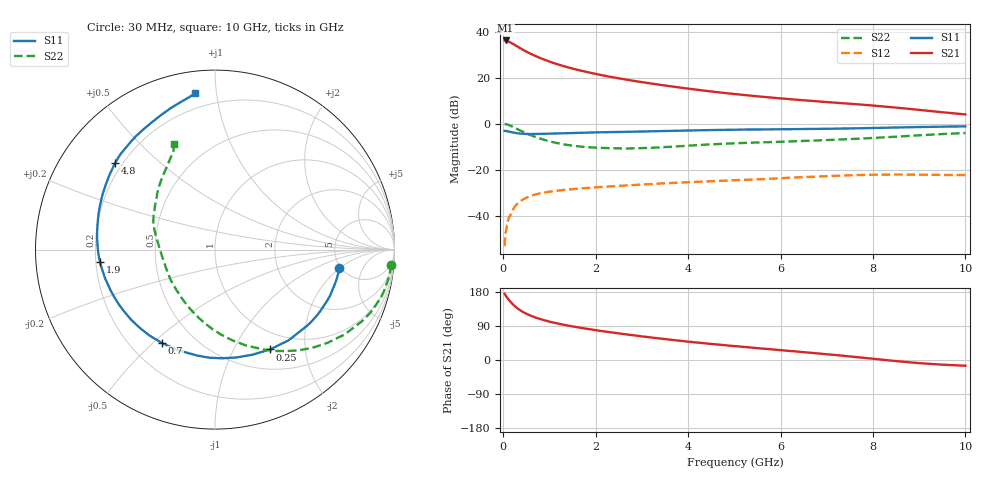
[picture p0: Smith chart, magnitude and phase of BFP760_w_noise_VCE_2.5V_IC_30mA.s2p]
! Infineon Technologies  Discrete & RF Semiconductors
! BFP760
! VCE =  2.5 V,  IC =  30 mA
! Common Emitter S-Parameters:  Nov 2012
# GHz  S  MA  R  50
!  f  S11  S21  S12  S22
! GHz  MAG  ANG  MAG  ANG  MAG  ANG  MAG  ANG
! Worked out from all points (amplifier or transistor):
!   99 points, 30 MHz to 10 GHz, reference 50 ohm
!   highest |S21| = 36.1 dB at 50 MHz (marker M1)
!   |S21| within 3 dB of that: start of sweep to 336.8 MHz
!   unconditionally stable (mu >= 1): 4.221 GHz to end of sweep
!   at 350 MHz: K = 0.27, MSG = 33.5 dB, |S12| = -34.0 dB
!   at 3.5 GHz: K = 0.93, MSG = 21.2 dB, |S12| = -25.8 dB
!   at 10 GHz: K = 1.08, MAG = 11.5 dB, |S12| = -22.3 dB
!   lowest NFmin = 0.75 dB at 900 MHz
!   S11 on the Smith chart (normalised r, x): 30 MHz: 4.86, -1.96; 250 MHz: 0.75, -1.41; 700 MHz: 0.33, -0.53; 1.9 GHz: 0.22, -0.05; 4.8 GHz: 0.17, +0.37; 10 GHz: 0.12, +0.87
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0.03  0.7006 -8.4  64.07 174.7  0.0022 81.8  0.9837 -5.0
0.05  0.6971 -13.8  64.14 170.6  0.0043 80.3  0.9819 -8.6
0.1  0.6829 -27.0  61.66 162.2  0.0075 74.6  0.9538 -17.7
0.15  0.6658 -39.6  58.48 154.6  0.0101 71.5  0.9117 -25.9
0.2  0.6509 -50.9  54.81 148.0  0.0132 67.1  0.8633 -33.2
0.25  0.6351 -61.2  51.31 142.1  0.0158 64.1  0.814 -39.7
0.35  0.6127 -78.8  44.58 132.6  0.02 57.6  0.7254 -50.8
0.45  0.6031 -93.1  39.1 125.3  0.0233 52.5  0.6508 -60.1
0.6  0.5978 -110.5  32.73 116.7  0.0272 46.9  0.5613 -72.1
0.7  0.5985 -119.6  29.42 112.1  0.0292 44.0  0.5147 -79.2
0.9  0.6051 -134.3  24.33 104.5  0.0323 39.7  0.4428 -91.9
1.1  0.6121 -145.5  20.63 98.4  0.0345 37.0  0.3927 -102.9
1.4  0.6241 -158.3  16.74 90.9  0.0372 34.4  0.3454 -117.2
1.7  0.6359 -168.2  14.05 84.5  0.0395 33.1  0.3166 -129.7
1.9  0.644 -173.8  12.67 80.7  0.041 32.2  0.3059 -137.4
2.6  0.6655 170.5  9.285 68.6  0.0453 30.7  0.2913 -159.8
3.4  0.6914 156.5  6.976 56.5  0.0504 29.3  0.3074 179.7
4.8  0.7363 138.9  4.638 39.0  0.0582 27.0  0.3684 158.1
5.1  0.7437 136.4  4.311 35.7  0.0599 26.4  0.3794 155.0
6.7  0.7713 124.5  3.113 18.6  0.0707 22.6  0.4302 139.7
8.5  0.8283 106.8  2.239 -2.9  0.0791 12.2  0.5227 121.9
10  0.8772 97.2  1.594 -15.1  0.0769 7.6  0.6289 111.2
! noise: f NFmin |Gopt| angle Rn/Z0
0.9  0.75  0.17  -168  0.1
1.8  0.8  0.19  -157  0.06
2.4  0.85  0.19  -148  0.08
3.5  0.96  0.2  -140  0.1
5.5  1.18  0.27  -99  0.3
8  1.48  0.39  -73  0.42
